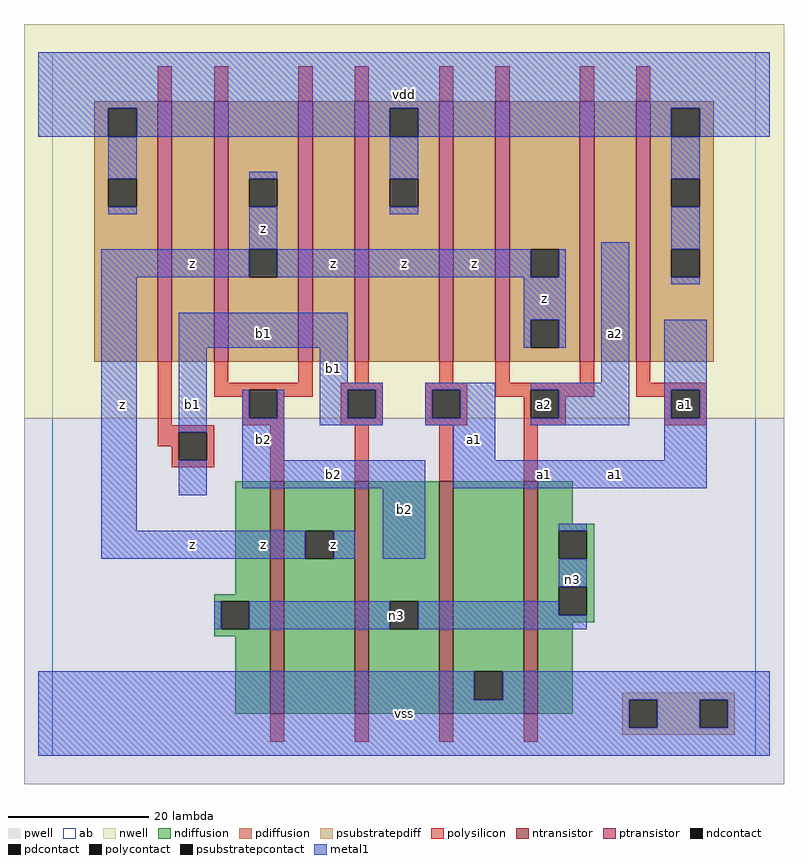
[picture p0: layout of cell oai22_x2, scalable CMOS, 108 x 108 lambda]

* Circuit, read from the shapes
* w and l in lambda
.subckt oai22_x2 a1 a2 b1 b2 n3 vdd vss z
M1 z b2 n3 vss nfet w=33 l=2
M2 n3 b1 z vss nfet w=33 l=2
M3 vss a1 n3 vss nfet w=33 l=2
M4 n3 a2 vss vss nfet w=33 l=2
M5 n1 b1 vdd n2 pfet w=37 l=2
M6 z b2 n1 n2 pfet w=37 l=2
M7 n4 b2 z n2 pfet w=37 l=2
M8 vdd b1 n4 n2 pfet w=37 l=2
M9 n5 a1 vdd n2 pfet w=37 l=2
M10 z a2 n5 n2 pfet w=37 l=2
M11 n6 a2 z n2 pfet w=37 l=2
M12 vdd a1 n6 n2 pfet w=37 l=2
.ends

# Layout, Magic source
magic
tech scmos
<< ab >>
rect 0 0 100 100
<< pwell >>
rect -4 -4 104 48
<< nwell >>
rect -4 48 104 104
<< polysilicon >>
rect 15 93 17 98
rect 23 93 25 98
rect 35 93 37 98
rect 43 93 45 98
rect 55 93 57 98
rect 63 93 65 98
rect 75 93 77 98
rect 83 93 85 98
rect 15 47 17 56
rect 23 53 25 56
rect 35 53 37 56
rect 43 53 45 56
rect 55 53 57 56
rect 63 53 65 56
rect 75 53 77 56
rect 23 52 37 53
rect 23 51 28 52
rect 27 48 28 51
rect 32 51 37 52
rect 41 52 47 53
rect 32 48 33 51
rect 27 47 33 48
rect 41 48 42 52
rect 46 48 47 52
rect 41 47 47 48
rect 53 52 59 53
rect 53 48 54 52
rect 58 48 59 52
rect 63 52 77 53
rect 63 51 68 52
rect 53 47 59 48
rect 67 48 68 51
rect 72 51 77 52
rect 83 53 85 56
rect 83 52 93 53
rect 83 51 88 52
rect 72 48 73 51
rect 67 47 73 48
rect 87 48 88 51
rect 92 48 93 52
rect 87 47 93 48
rect 15 46 23 47
rect 15 44 18 46
rect 17 42 18 44
rect 22 42 23 46
rect 17 41 23 42
rect 31 39 33 47
rect 43 39 45 47
rect 55 39 57 47
rect 67 39 69 47
rect 31 2 33 6
rect 43 2 45 6
rect 55 2 57 6
rect 67 2 69 6
<< ndiffusion >>
rect 26 23 31 39
rect 23 22 31 23
rect 23 18 24 22
rect 28 18 31 22
rect 23 17 31 18
rect 26 6 31 17
rect 33 32 43 39
rect 33 28 36 32
rect 40 28 43 32
rect 33 6 43 28
rect 45 22 55 39
rect 45 18 48 22
rect 52 18 55 22
rect 45 6 55 18
rect 57 12 67 39
rect 57 8 60 12
rect 64 8 67 12
rect 57 6 67 8
rect 69 33 74 39
rect 69 32 77 33
rect 69 28 72 32
rect 76 28 77 32
rect 69 24 77 28
rect 69 20 72 24
rect 76 20 77 24
rect 69 19 77 20
rect 69 6 74 19
<< pdiffusion >>
rect 6 92 15 93
rect 6 88 8 92
rect 12 88 15 92
rect 6 82 15 88
rect 6 78 8 82
rect 12 78 15 82
rect 6 56 15 78
rect 17 56 23 93
rect 25 82 35 93
rect 25 78 28 82
rect 32 78 35 82
rect 25 72 35 78
rect 25 68 28 72
rect 32 68 35 72
rect 25 56 35 68
rect 37 56 43 93
rect 45 92 55 93
rect 45 88 48 92
rect 52 88 55 92
rect 45 82 55 88
rect 45 78 48 82
rect 52 78 55 82
rect 45 56 55 78
rect 57 56 63 93
rect 65 72 75 93
rect 65 68 68 72
rect 72 68 75 72
rect 65 62 75 68
rect 65 58 68 62
rect 72 58 75 62
rect 65 56 75 58
rect 77 56 83 93
rect 85 92 94 93
rect 85 88 88 92
rect 92 88 94 92
rect 85 82 94 88
rect 85 78 88 82
rect 92 78 94 82
rect 85 72 94 78
rect 85 68 88 72
rect 92 68 94 72
rect 85 56 94 68
<< metal1 >>
rect -2 92 102 100
rect -2 88 8 92
rect 12 88 48 92
rect 52 88 88 92
rect 92 88 102 92
rect 8 82 12 88
rect 8 77 12 78
rect 28 82 32 83
rect 28 72 32 78
rect 48 82 52 88
rect 48 77 52 78
rect 88 82 92 88
rect 7 68 28 72
rect 32 68 68 72
rect 72 68 73 72
rect 7 32 12 68
rect 18 58 42 63
rect 67 62 73 68
rect 67 58 68 62
rect 72 58 73 62
rect 18 46 22 58
rect 38 53 42 58
rect 78 53 82 73
rect 88 72 92 78
rect 88 67 92 68
rect 38 52 47 53
rect 18 37 22 42
rect 27 48 28 52
rect 32 48 33 52
rect 27 42 33 48
rect 38 48 42 52
rect 46 48 47 52
rect 38 47 47 48
rect 53 52 63 53
rect 53 48 54 52
rect 58 48 63 52
rect 53 47 63 48
rect 68 52 82 53
rect 72 48 82 52
rect 68 47 82 48
rect 87 52 93 62
rect 87 48 88 52
rect 92 48 93 52
rect 57 42 63 47
rect 87 42 93 48
rect 27 38 53 42
rect 57 38 93 42
rect 7 28 36 32
rect 40 28 43 32
rect 47 28 53 38
rect 72 32 76 33
rect 72 24 76 28
rect 23 18 24 22
rect 28 18 48 22
rect 52 20 72 22
rect 52 18 76 20
rect -2 8 60 12
rect 64 8 102 12
rect -2 4 82 8
rect 86 4 92 8
rect 96 4 102 8
rect -2 0 102 4
<< ntransistor >>
rect 31 6 33 39
rect 43 6 45 39
rect 55 6 57 39
rect 67 6 69 39
<< ptransistor >>
rect 15 56 17 93
rect 23 56 25 93
rect 35 56 37 93
rect 43 56 45 93
rect 55 56 57 93
rect 63 56 65 93
rect 75 56 77 93
rect 83 56 85 93
<< polycontact >>
rect 28 48 32 52
rect 42 48 46 52
rect 54 48 58 52
rect 68 48 72 52
rect 88 48 92 52
rect 18 42 22 46
<< ndcontact >>
rect 24 18 28 22
rect 36 28 40 32
rect 48 18 52 22
rect 60 8 64 12
rect 72 28 76 32
rect 72 20 76 24
<< pdcontact >>
rect 8 88 12 92
rect 8 78 12 82
rect 28 78 32 82
rect 28 68 32 72
rect 48 88 52 92
rect 48 78 52 82
rect 68 68 72 72
rect 68 58 72 62
rect 88 88 92 92
rect 88 78 92 82
rect 88 68 92 72
<< psubstratepcontact >>
rect 82 4 86 8
rect 92 4 96 8
<< psubstratepdiff >>
rect 81 8 97 9
rect 81 4 82 8
rect 86 4 92 8
rect 96 4 97 8
rect 81 3 97 4
<< labels >>
rlabel metal1 10 50 10 50 6 z
rlabel metal1 20 30 20 30 6 z
rlabel metal1 30 30 30 30 6 z
rlabel metal1 20 50 20 50 6 b1
rlabel metal1 30 45 30 45 6 b2
rlabel metal1 30 60 30 60 6 b1
rlabel metal1 20 70 20 70 6 z
rlabel metal1 30 75 30 75 6 z
rlabel metal1 50 6 50 6 6 vss
rlabel metal1 40 30 40 30 6 z
rlabel metal1 50 35 50 35 6 b2
rlabel metal1 40 40 40 40 6 b2
rlabel metal1 40 55 40 55 6 b1
rlabel metal1 40 70 40 70 6 z
rlabel metal1 50 70 50 70 6 z
rlabel metal1 50 94 50 94 6 vdd
rlabel metal1 74 25 74 25 6 n3
rlabel ndcontact 49 20 49 20 6 n3
rlabel metal1 70 40 70 40 6 a1
rlabel metal1 60 45 60 45 6 a1
rlabel polycontact 70 50 70 50 6 a2
rlabel metal1 60 70 60 70 6 z
rlabel metal1 70 65 70 65 6 z
rlabel metal1 80 40 80 40 6 a1
rlabel polycontact 90 50 90 50 6 a1
rlabel metal1 80 60 80 60 6 a2
<< end >>
